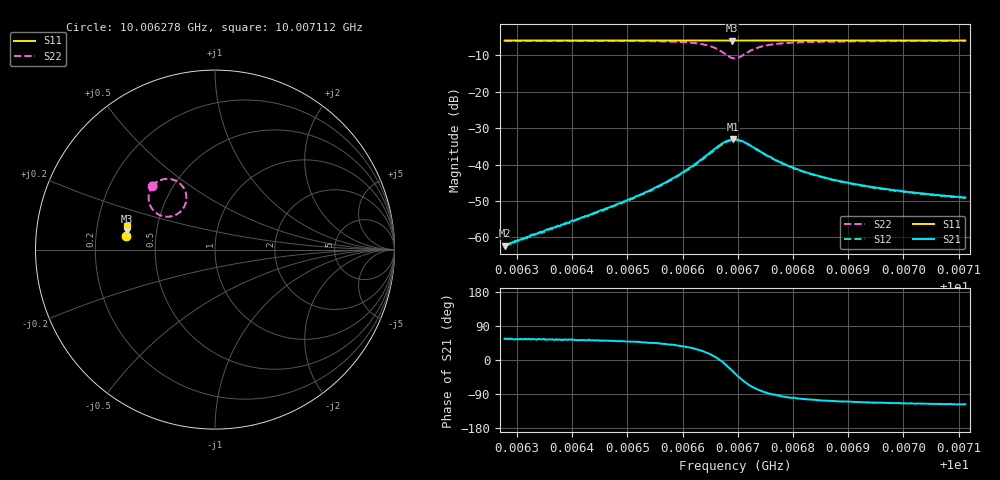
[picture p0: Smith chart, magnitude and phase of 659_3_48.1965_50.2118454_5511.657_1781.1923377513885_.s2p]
#  HZ  S  RI  R  50.00
! Rohde & Schwarz Vector Network Analyzer
! Rohde-Schwarz,ZNB20-2Port,1311601062101988,3.16
! Created: UTC 3/20/2024, 12:05:39 PM
! freq[Hz]  re:S11  im:S11  re:S21  im:S21  re:S12  im:S12  re:S22  im:S22
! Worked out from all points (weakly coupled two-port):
!   401 points, 10.006278 GHz to 10.007112 GHz, reference 50 ohm
!   highest |S21| = -33.10 dB at 10.006691 GHz (marker M1); lowest = -62.3 dB at 10.006278 GHz (marker M2)
!   lowest |S11| = -6.0 dB at 10.006689 GHz (marker M3), VSWR 3.02, Z = 16.7 + j4.66 ohm
!   |S11| at or under -10 dB: nowhere
!   |S22| runs from -10.9 to -6.0 dB; largest |S21 - S12| = 0.0017
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1.00062778e10  -0.4977 0.078  0.000426 0.000638  0.000378 0.000655  -0.3518 0.3548
1.00062903e10  -0.4976 0.0789  0.000464 0.00069  0.000375 0.000695  -0.3508 0.3558
1.00063007e10  -0.4975 0.0794  0.000511 0.000742  0.000453 0.000771  -0.35 0.3569
1.00064176e10  -0.4964 0.0873  0.00113 0.00148  0.001 0.00151  -0.3372 0.368
1.00065031e10  -0.4954 0.0928  0.0022 0.0025  0.00199 0.00254  -0.3213 0.3791
1.00065574e10  -0.4948 0.0966  0.00368 0.00358  0.00342 0.00363  -0.3024 0.388
1.00065991e10  -0.4942 0.0993  0.00618 0.00458  0.00576 0.00479  -0.2748 0.3941
1.00066408e10  -0.4931 0.1023  0.012 0.00462  0.0114 0.00505  -0.2187 0.3837
1.00066554e10  -0.4926 0.103  0.0155 0.00307  0.0147 0.0039  -0.1893 0.3625
1.00066701e10  -0.4919 0.1037  0.0191 -0.000845  0.0184 0.000261  -0.1637 0.3191
1.00066888e10  -0.4913 0.1041  0.0196 -0.00998  0.0198 -0.00832  -0.1748 0.2338
1.00066909e10  -0.4914 0.104  0.0193 -0.0109  0.0194 -0.00942  -0.1808 0.2249
1.00066951e10  -0.4914 0.104  0.018 -0.0129  0.0185 -0.0114  -0.1953 0.2093
1.00067034e10  -0.4915 0.1042  0.0148 -0.0155  0.0155 -0.0144  -0.2316 0.1885
1.00067139e10  -0.4918 0.1046  0.0104 -0.0171  0.0112 -0.0162  -0.2774 0.184
1.00067285e10  -0.4923 0.1055  0.00513 -0.0165  0.00624 -0.016  -0.3245 0.2017
1.00067431e10  -0.4924 0.1066  0.00202 -0.0146  0.00294 -0.0144  -0.3503 0.227
1.00067932e10  -0.4923 0.1102  -0.00147 -0.00941  -0.000916 -0.00931  -0.3702 0.2871
1.00068349e10  -0.4917 0.1129  -0.00186 -0.0071  -0.0015 -0.00715  -0.3676 0.312
1.00068975e10  -0.491 0.1171  -0.00189 -0.00536  -0.00162 -0.00533  -0.3609 0.3322
1.00069747e10  -0.4901 0.1222  -0.00182 -0.00415  -0.0016 -0.00416  -0.3533 0.3464
1.00071124e10  -0.4881 0.131  -0.00158 -0.00314  -0.00141 -0.00314  -0.3427 0.3619
